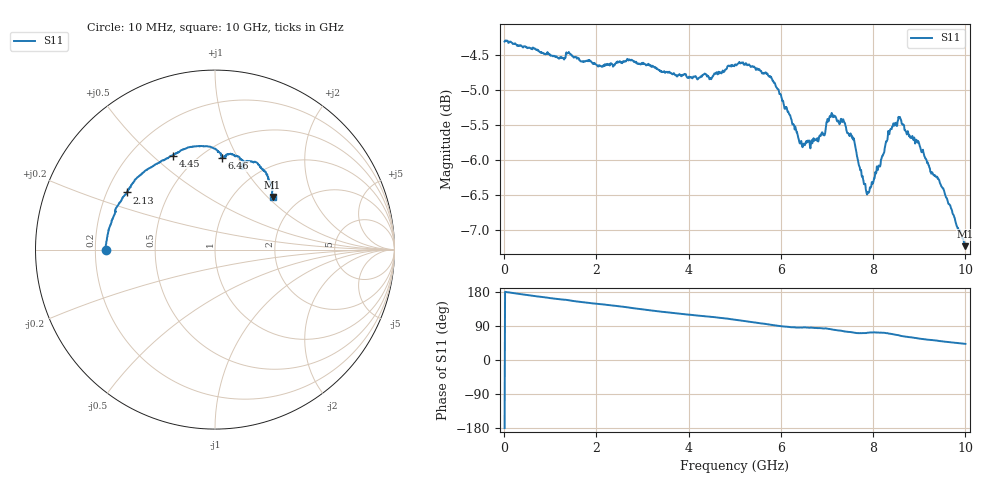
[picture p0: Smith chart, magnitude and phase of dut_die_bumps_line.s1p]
!Keysight Technologies,N5247B,MY60213743,A.16.20.04
!Date: Thursday, June 05, 2025 15:18:02
!Correction: S11(C  1-Port  )
!S1P File: Measurement: S11:
# Hz S  RI  R 50
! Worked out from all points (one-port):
!   1000 points, 10 MHz to 10 GHz, reference 50 ohm
!   lowest |S11| = -7.2 dB at 10 GHz (marker M1), VSWR 2.54, Z = 74 + j53.6 ohm
!   |S11| at or under -10 dB: nowhere
!   S11 on the Smith chart (normalised r, x): 10 MHz: 0.24, -0.00; 2.13 GHz: 0.28, +0.27; 4.45 GHz: 0.38, +0.58; 6.46 GHz: 0.62, +0.86; 10 GHz: 1.48, +1.07
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1e7  -0.6092 -0.0026
7.1e8  -0.5881 0.1253
1.26e9  -0.5556 0.2062
1.61e9  -0.5318 0.2615
2.13e9  -0.4902 0.3186
2.51e9  -0.4607 0.3682
3.18e9  -0.3822 0.4428
3.76e9  -0.3115 0.4837
4.45e9  -0.2319 0.5234
5.01e9  -0.1648 0.563
5.29e9  -0.1161 0.5747
5.72e9  -0.0412 0.5747
6.01e9  0.0089 0.5558
6.26e9  0.0313 0.5309
6.46e9  0.0397 0.5109
6.97e9  0.0593 0.5241
7.14e9  0.0946 0.5306
7.51e9  0.1467 0.5026
7.65e9  0.1635 0.4771
7.85e9  0.1542 0.4503
7.99e9  0.1427 0.4603
8.2e9  0.157 0.4797
8.36e9  0.1842 0.492
8.53e9  0.2161 0.4884
8.76e9  0.2577 0.4563
9.04e9  0.2861 0.4207
9.48e9  0.3112 0.3652
1e10  0.3204 0.294
